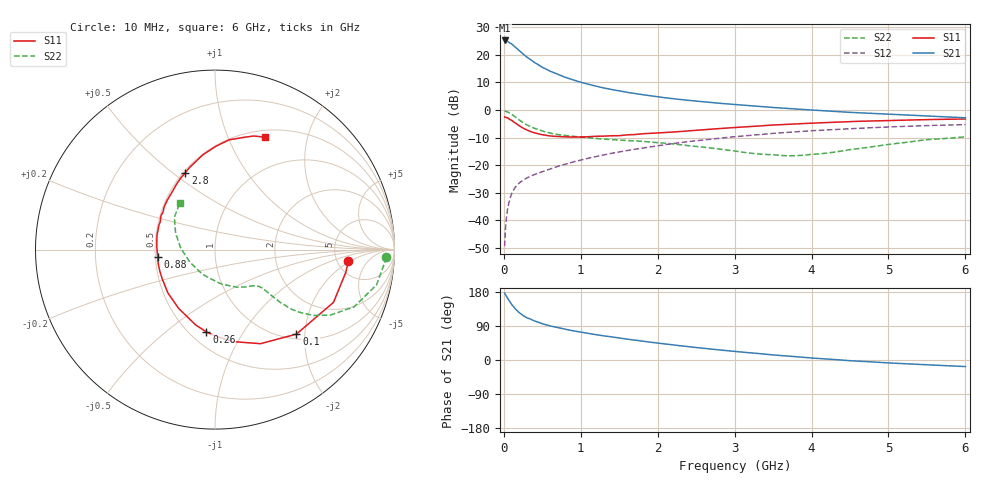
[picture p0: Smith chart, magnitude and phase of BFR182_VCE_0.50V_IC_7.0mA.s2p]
! Infineon Technologies  Discrete & RF Semiconductors
! BFR182
! VCE = 0.50 V,  IC =  7.0 mA
! Common Emitter S-Parameters:  Nov 2015
# GHz  S  MA  R  50
!  f  S11  S21  S12  S22
! GHz  MAG  ANG  MAG  ANG  MAG  ANG  MAG  ANG
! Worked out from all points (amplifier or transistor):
!   210 points, 10 MHz to 6 GHz, reference 50 ohm
!   highest |S21| = 25.2 dB at 10 MHz (marker M1)
!   |S21| within 3 dB of that: start of sweep to 172.3 MHz
!   unconditionally stable (mu >= 1): 647.6 MHz to 4.339 GHz; 5.757 GHz to end of sweep
!   at 185 MHz: K = 0.47, MSG = 24.4 dB, |S12| = -26.9 dB
!   at 1.52 GHz: K = 1.15, MAG = 8.6 dB, |S12| = -15.1 dB
!   at 6 GHz: K = 1.01, MAG = 0.8 dB, |S12| = -5.3 dB
!   S11 on the Smith chart (normalised r, x): 10 MHz: 6.28, -1.87; 100 MHz: 1.10, -1.81; 260 MHz: 0.60, -0.70; 880 MHz: 0.51, -0.05; 2.8 GHz: 0.51, +0.56; 6 GHz: 0.58, +1.38
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0.01  0.7452 -5.1  18.16 176.5  0.0034 87.5  0.9548 -2.5
0.025  0.7342 -12.0  17.77 171.0  0.0083 82.8  0.94 -6.3
0.05  0.7227 -24.0  17.4 162.4  0.0165 78.6  0.9213 -12.3
0.1  0.6538 -46.1  15.82 147.0  0.0301 68.1  0.8378 -22.4
0.15  0.5823 -64.2  13.68 134.3  0.0401 62.1  0.74 -29.5
0.2  0.5203 -79.7  11.91 124.9  0.0475 59.1  0.6599 -33.8
0.24  0.4774 -90.9  10.61 118.8  0.0521 57.0  0.6014 -36.0
0.26  0.4614 -95.9  10.05 116.0  0.0544 56.4  0.5763 -36.9
0.3  0.4337 -104.3  9.05 111.4  0.0586 56.1  0.5342 -38.1
0.4  0.3851 -121.8  7.235 102.9  0.0677 55.5  0.4647 -39.0
0.5  0.3568 -137.3  5.926 95.6  0.0761 56.2  0.4144 -39.1
0.6  0.3386 -149.0  5.051 90.0  0.0852 56.9  0.3805 -39.0
0.7  0.3304 -158.3  4.413 85.2  0.0947 57.7  0.3584 -39.0
0.88  0.3223 -172.4  3.571 77.9  0.112 58.3  0.3347 -39.3
1.02  0.3245 177.3  3.119 72.8  0.1253 58.7  0.3194 -40.1
1.4  0.3409 156.6  2.339 61.0  0.1638 58.1  0.2894 -44.4
2.02  0.3848 133.0  1.712 44.3  0.2271 54.0  0.255 -55.3
2.8  0.4595 111.0  1.322 26.6  0.3078 46.4  0.1966 -78.5
3.1  0.4893 104.9  1.224 20.8  0.3367 42.7  0.1719 -91.7
4.1  0.5836 88.0  0.977 4.0  0.4272 30.4  0.1598 -160.0
5.1  0.6471 75.3  0.828 -8.7  0.4979 17.9  0.2461 153.8
6  0.6858 65.9  0.721 -17.3  0.541 6.1  0.3257 126.9
